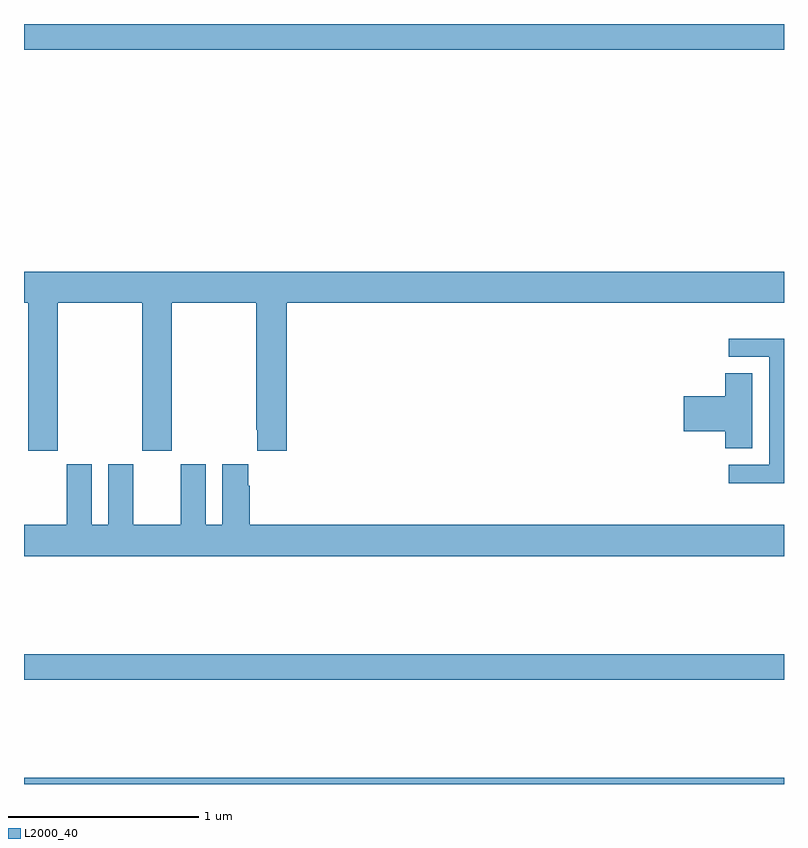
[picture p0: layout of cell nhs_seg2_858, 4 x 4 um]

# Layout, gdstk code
import gdstk
lib = gdstk.Library(unit=1e-6, precision=1e-09)
def R(c, l, rs):  # rectangles x0, y0, x1, y1
    for r in rs: c.add(gdstk.rectangle(r[:2], r[2:], *l))
def P(c, l, *ps):  # polygons
    for p in ps: c.add(gdstk.Polygon(p, *l))
L2000_40 = (2000, 40)

nhs_seg2_858 = lib.new_cell('nhs_seg2_858')
R(nhs_seg2_858, L2000_40, [(155,615.8,159,615.832), (155,616.348,159,616.484), (155,619.664,159,619.8)])
P(nhs_seg2_858, L2000_40, [(155.178,618.332),(155.623,618.332),(155.623,617.553),(155.778,617.553),(155.778,618.332),(156.223,618.332),(156.223,617.665),(156.227,617.665),(156.227,617.553),(156.383,617.553),(156.383,618.332),(159,618.332),(159,618.496),(155,618.496),(155,618.332),(155.023,618.332),(155.023,617.553),(155.178,617.553)],
  [(159,618.144),(158.709,618.144),(158.709,618.048),(158.922,618.048),(158.922,617.481),(158.709,617.481),(158.709,617.383),(159,617.383)],
  [(158.833,617.963),(158.69,617.963),(158.69,617.84),(158.472,617.84),(158.472,617.657),(158.69,617.657),(158.69,617.566),(158.833,617.566)],
  [(159,617.164),(156.188,617.164),(156.188,617.369),(156.181,617.369),(156.181,617.482),(156.044,617.482),(156.044,617.164),(155.956,617.164),(155.956,617.482),(155.825,617.482),(155.825,617.164),(155.575,617.164),(155.575,617.482),(155.444,617.482),(155.444,617.164),(155.356,617.164),(155.356,617.482),(155.225,617.482),(155.225,617.164),(155,617.164),(155,617),(159,617)])

lib.write_gds('nhs_seg2_858.gds')
